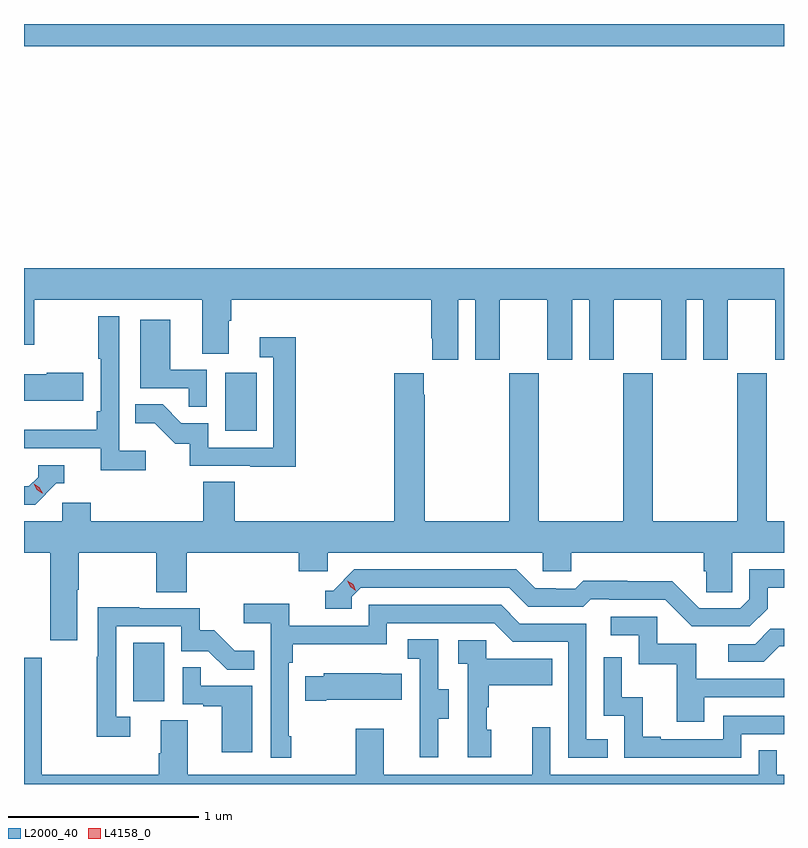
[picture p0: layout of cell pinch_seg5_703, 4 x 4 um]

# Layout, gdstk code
import gdstk
lib = gdstk.Library(unit=1e-6, precision=1e-09)
def R(c, l, rs):  # rectangles x0, y0, x1, y1
    for r in rs: c.add(gdstk.rectangle(r[:2], r[2:], *l))
def P(c, l, *ps):  # polygons
    for p in ps: c.add(gdstk.Polygon(p, *l))
L2000_40 = (2000, 40)
L4158_0 = (4158, 0)

pinch_seg5_703 = lib.new_cell('pinch_seg5_703')
R(pinch_seg5_703, L2000_40, [(1118.588,843.99,1118.752,844.297), (1119.074,845.412,1119.238,845.719), (1118.014,847.436,1122.014,847.554)])
P(pinch_seg5_703, L2000_40, [(1120.3,846.104),(1120.388,846.104),(1120.388,845.787),(1120.519,845.787),(1120.519,846.104),(1120.769,846.104),(1120.769,845.787),(1120.9,845.787),(1120.9,846.104),(1120.988,846.104),(1120.988,845.787),(1121.119,845.787),(1121.119,846.104),(1121.369,846.104),(1121.369,845.787),(1121.5,845.787),(1121.5,846.104),(1121.588,846.104),(1121.588,845.787),(1121.719,845.787),(1121.719,846.104),(1121.969,846.104),(1121.969,845.787),(1122.014,845.787),(1122.014,846.268),(1118.014,846.268),(1118.014,845.865),(1118.067,845.865),(1118.067,846.104),(1118.951,846.104),(1118.951,845.818),(1119.091,845.818),(1119.091,845.992),(1119.104,845.992),(1119.104,846.104),(1120.157,846.104),(1120.157,845.899),(1120.163,845.899),(1120.163,845.787),(1120.3,845.787)],
  [(1118.656,845.308),(1118.514,845.308),(1118.514,846.016),(1118.406,846.016),(1118.406,845.791),(1118.418,845.791),(1118.418,845.515),(1118.398,845.515),(1118.398,845.419),(1118.014,845.419),(1118.014,845.322),(1118.417,845.322),(1118.417,845.206),(1118.656,845.206)],
  [(1118.976,845.733),(1118.785,845.733),(1118.785,845.998),(1118.627,845.998),(1118.627,845.637),(1118.881,845.637),(1118.881,845.539),(1118.976,845.539)],
  [(1119.443,845.905),(1119.255,845.905),(1119.255,845.799),(1119.327,845.799),(1119.327,845.325),(1118.985,845.325),(1118.985,845.454),(1118.841,845.454),(1118.743,845.552),(1118.599,845.552),(1118.599,845.453),(1118.703,845.453),(1118.81,845.346),(1118.887,845.346),(1118.887,845.229),(1119.205,845.229),(1119.205,845.224),(1119.443,845.224)],
  [(1118.326,845.718),(1118.135,845.718),(1118.135,845.71),(1118.014,845.71),(1118.014,845.57),(1118.326,845.57)],
  [(1118.71,844.564),(1118.87,844.564),(1118.87,844.772),(1119.461,844.772),(1119.461,844.674),(1119.612,844.674),(1119.612,844.772),(1120.743,844.772),(1120.743,844.674),(1120.893,844.674),(1120.893,844.772),(1121.591,844.772),(1121.591,844.674),(1121.605,844.674),(1121.605,844.564),(1121.742,844.564),(1121.742,844.772),(1122.014,844.772),(1122.014,844.936),(1121.922,844.936),(1121.922,845.716),(1121.767,845.716),(1121.767,844.936),(1121.322,844.936),(1121.322,845.716),(1121.167,845.716),(1121.167,844.936),(1120.722,844.936),(1120.722,845.716),(1120.567,845.716),(1120.567,844.936),(1120.122,844.936),(1120.122,845.603),(1120.117,845.603),(1120.117,845.716),(1119.962,845.716),(1119.962,844.936),(1119.122,844.936),(1119.122,845.144),(1118.957,845.144),(1118.957,844.936),(1118.366,844.936),(1118.366,845.034),(1118.214,845.034),(1118.214,844.936),(1118.014,844.936),(1118.014,844.772),(1118.153,844.772),(1118.153,844.311),(1118.293,844.311),(1118.293,844.576),(1118.301,844.576),(1118.301,844.772),(1118.71,844.772)],
  [(1118.184,845.136),(1118.227,845.136),(1118.227,845.232),(1118.088,845.232),(1118.088,845.169),(1118.04,845.121),(1118.014,845.121),(1118.014,845.025),(1118.073,845.025)],
  [(1121.929,844.477),(1121.929,844.587),(1122.014,844.587),(1122.014,844.683),(1121.832,844.683),(1121.832,844.527),(1121.784,844.479),(1121.568,844.479),(1121.426,844.621),(1121.19,844.621),(1121.19,844.624),(1120.957,844.624),(1120.915,844.581),(1120.812,844.581),(1120.812,844.584),(1120.705,844.584),(1120.606,844.683),(1119.753,844.683),(1119.642,844.572),(1119.599,844.572),(1119.599,844.476),(1119.738,844.476),(1119.738,844.539),(1119.786,844.587),(1120.569,844.587),(1120.668,844.488),(1120.957,844.488),(1120.996,844.527),(1121.095,844.527),(1121.095,844.524),(1121.388,844.524),(1121.529,844.383),(1121.835,844.383)],
  [(1119.421,843.805),(1119.408,843.805),(1119.408,844.193),(1119.428,844.193),(1119.428,844.289),(1119.924,844.289),(1119.924,844.401),(1120.488,844.401),(1120.587,844.302),(1120.878,844.302),(1120.878,843.693),(1121.087,843.693),(1121.087,843.789),(1120.974,843.789),(1120.974,844.398),(1120.624,844.398),(1120.525,844.497),(1119.828,844.497),(1119.828,844.386),(1119.41,844.386),(1119.41,844.502),(1119.171,844.502),(1119.171,844.4),(1119.312,844.4),(1119.312,843.693),(1119.421,843.693)],
  [(1118.572,843.909),(1118.499,843.909),(1118.499,844.383),(1118.841,844.383),(1118.841,844.254),(1118.985,844.254),(1119.083,844.156),(1119.227,844.156),(1119.227,844.255),(1119.123,844.255),(1119.016,844.362),(1118.94,844.362),(1118.94,844.479),(1118.621,844.479),(1118.621,844.484),(1118.403,844.484),(1118.403,844.223),(1118.398,844.223),(1118.398,843.804),(1118.572,843.804)],
  [(1121.593,844.011),(1122.014,844.011),(1122.014,844.107),(1121.551,844.107),(1121.551,844.293),(1121.346,844.293),(1121.346,844.434),(1121.103,844.434),(1121.103,844.338),(1121.25,844.338),(1121.25,844.185),(1121.449,844.185),(1121.449,843.882),(1121.593,843.882)],
  [(1121.989,844.278),(1122.014,844.278),(1122.014,844.37),(1121.942,844.37),(1121.862,844.29),(1121.721,844.29),(1121.721,844.197),(1121.908,844.197)],
  [(1120.195,843.898),(1120.249,843.898),(1120.249,844.053),(1120.194,844.053),(1120.194,844.316),(1120.035,844.316),(1120.035,844.213),(1120.098,844.213),(1120.098,843.909),(1120.097,843.909),(1120.097,843.696),(1120.195,843.696)],
  [(1120.474,843.84),(1120.449,843.84),(1120.449,843.959),(1120.459,843.959),(1120.459,844.073),(1120.793,844.073),(1120.793,844.213),(1120.446,844.213),(1120.446,844.311),(1120.299,844.311),(1120.299,844.187),(1120.35,844.187),(1120.35,843.696),(1120.474,843.696)],
  [(1121.79,843.816),(1122.014,843.816),(1122.014,843.912),(1121.694,843.912),(1121.694,843.789),(1121.365,843.789),(1121.365,843.802),(1121.27,843.802),(1121.27,844.01),(1121.16,844.01),(1121.16,844.222),(1121.064,844.222),(1121.064,843.912),(1121.172,843.912),(1121.172,843.693),(1121.79,843.693)],
  [(1122.014,843.604),(1121.976,843.604),(1121.976,843.731),(1121.88,843.731),(1121.88,843.604),(1120.785,843.604),(1120.785,843.853),(1120.688,843.853),(1120.688,843.604),(1119.907,843.604),(1119.907,843.844),(1119.76,843.844),(1119.76,843.604),(1118.875,843.604),(1118.875,843.89),(1118.735,843.89),(1118.735,843.716),(1118.723,843.716),(1118.723,843.604),(1118.107,843.604),(1118.107,844.219),(1118.014,844.219),(1118.014,843.554),(1122.014,843.554)],
  [(1119.214,844.071),(1118.945,844.071),(1118.945,844.169),(1118.85,844.169),(1118.85,843.975),(1118.957,843.975),(1118.957,843.963),(1119.056,843.963),(1119.056,843.72),(1119.214,843.72)],
  [(1119.604,843.998),(1120.001,843.998),(1120.001,844.135),(1119.893,844.135),(1119.893,844.138),(1119.591,844.138),(1119.591,844.12),(1119.493,844.12),(1119.493,843.991),(1119.604,843.991)])
P(pinch_seg5_703, L4158_0, [(1118.111,845.084),(1118.081,845.102),(1118.064,845.135),(1118.064,845.135),(1118.065,845.135),(1118.095,845.116),(1118.112,845.084),(1118.112,845.084)],
  [(1119.761,844.572),(1119.73,844.592),(1119.715,844.625),(1119.715,844.625),(1119.715,844.625),(1119.746,844.605),(1119.761,844.572),(1119.761,844.572)])

lib.write_gds('pinch_seg5_703.gds')
